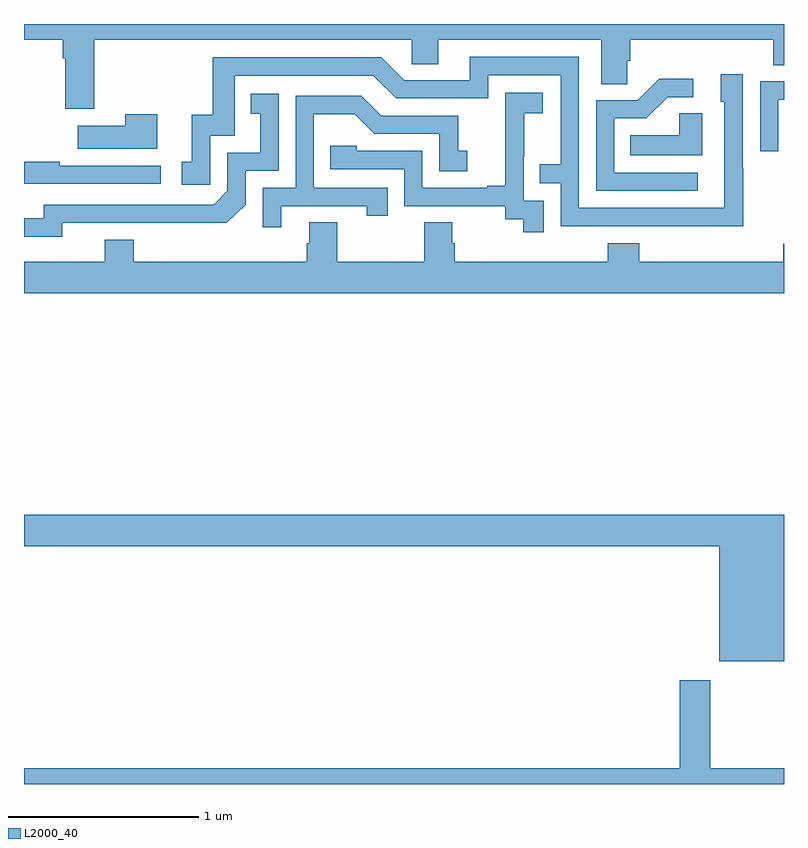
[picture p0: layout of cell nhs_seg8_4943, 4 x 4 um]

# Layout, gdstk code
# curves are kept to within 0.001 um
import gdstk
lib = gdstk.Library(unit=1e-6, precision=1e-09)
def P(c, l, *ps):  # polygons
    for p in ps: c.add(gdstk.Polygon(p, *l))
L2000_40 = (2000, 40)

nhs_seg8_4943 = lib.new_cell('nhs_seg8_4943')
P(nhs_seg8_4943, L2000_40, [(409.37,1133.816),(411.042,1133.816),(411.042,1133.689),(411.181,1133.689),(411.181,1133.816),(412.037,1133.816),(412.037,1133.584),(412.176,1133.584),(412.176,1133.707),(412.19,1133.707),(412.19,1133.816),(412.943,1133.816),(412.943,1133.683),(413,1133.683),(413,1133.9),(409,1133.9),(409,1133.816),(409.205,1133.816),(409.205,1133.72),(409.217,1133.72),(409.217,1133.454),(409.37,1133.454)],
  [(412.785,1133.141),(412.782,1133.141),(412.782,1133.635),(412.667,1133.635),(412.667,1133.49),(412.686,1133.49),(412.686,1132.932),(411.921,1132.932),(411.921,1133.727),(411.347,1133.727),(411.347,1133.604),(411,1133.604),(410.88,1133.724),(409.993,1133.724),(409.993,1133.422),(409.883,1133.422),(409.883,1133.175),(409.83,1133.175),(409.83,1133.055),(409.98,1133.055),(409.98,1133.313),(410.109,1133.313),(410.109,1133.628),(410.838,1133.628),(410.958,1133.508),(411.444,1133.508),(411.444,1133.631),(411.825,1133.631),(411.825,1133.162),(411.715,1133.162),(411.715,1133.061),(411.825,1133.061),(411.825,1132.836),(412.785,1132.835)],
  [(412.546,1133.118),(412.107,1133.118),(412.107,1133.403),(412.276,1133.403),(412.387,1133.514),(412.522,1133.514),(412.522,1133.612),(412.343,1133.612),(412.23,1133.499),(412.011,1133.499),(412.011,1133.022),(412.546,1133.022)],
  [(412.971,1133.502),(413,1133.502),(413,1133.598),(412.875,1133.598),(412.875,1133.229),(412.971,1133.229)],
  [(411.735,1132.971),(411.63,1132.971),(411.63,1133.201),(411.632,1133.201),(411.632,1133.429),(411.73,1133.429),(411.73,1133.539),(411.532,1133.539),(411.532,1133.333),(411.533,1133.333),(411.533,1133.05),(411.437,1133.05),(411.437,1133.037),(411.096,1133.037),(411.096,1133.232),(410.751,1133.232),(410.751,1133.259),(410.611,1133.259),(410.611,1133.136),(411,1133.136),(411,1132.941),(411.534,1132.941),(411.534,1132.873),(411.627,1132.873),(411.627,1132.803),(411.735,1132.803)],
  [(409.2,1132.854),(410.068,1132.853),(410.166,1132.95),(410.166,1133.127),(410.34,1133.127),(410.34,1133.533),(410.194,1133.533),(410.194,1133.427),(410.243,1133.427),(410.243,1133.223),(410.07,1133.223),(410.07,1133.022),(409.998,1132.95),(409.104,1132.95),(409.104,1132.878),(409,1132.878),(409,1132.781),(409.2,1132.781)],
  [(410.353,1132.941),(410.804,1132.941),(410.804,1132.89),(410.915,1132.89),(410.915,1133.037),(410.526,1133.037),(410.526,1133.426),(410.74,1133.426),(410.844,1133.322),(411.186,1133.322),(411.186,1133.124),(411.334,1133.124),(411.334,1133.233),(411.285,1133.233),(411.285,1133.418),(410.881,1133.418),(410.776,1133.523),(410.43,1133.523),(410.43,1133.037),(410.256,1133.037),(410.256,1132.83),(410.353,1132.83)],
  [(412.57,1133.429),(412.449,1133.429),(412.449,1133.314),(412.192,1133.314),(412.192,1133.21),(412.57,1133.21)],
  [(409.702,1133.425),(409.532,1133.425),(409.532,1133.365),(409.283,1133.365),(409.283,1133.243),(409.702,1133.243)],
  [(409.72,1133.154),(409.187,1133.154),(409.187,1133.174),(409,1133.174),(409,1133.058),(409.72,1133.058)],
  [(413,1132.744),(412.997,1132.744),(412.997,1132.648),(412.238,1132.648),(412.238,1132.747),(412.073,1132.747),(412.073,1132.648),(411.266,1132.648),(411.266,1132.746),(411.253,1132.746),(411.253,1132.856),(411.106,1132.856),(411.106,1132.648),(410.649,1132.648),(410.649,1132.856),(410.501,1132.856),(410.501,1132.746),(410.489,1132.746),(410.489,1132.648),(409.577,1132.648),(409.577,1132.765),(409.424,1132.765),(409.424,1132.648),(409,1132.648),(409,1132.484),(413,1132.484)],
  [(413,1131.316),(409,1131.316),(409,1131.152),(412.658,1131.152),(412.658,1130.546),(413,1130.546)],
  [(413,1129.984),(412.611,1129.984),(412.611,1130.446),(412.451,1130.446),(412.451,1129.984),(409,1129.984),(409,1129.9),(413,1129.9)])

lib.write_gds('nhs_seg8_4943.gds')
